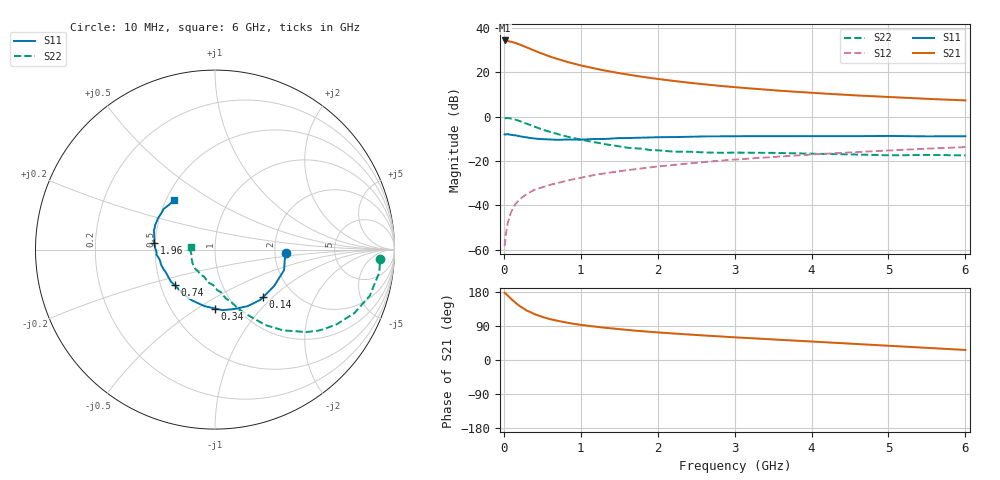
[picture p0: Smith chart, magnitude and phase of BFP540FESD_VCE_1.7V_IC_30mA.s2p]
! Infineon Technologies  Discrete & RF Semiconductors
! BFP540FESD
! VCE =  1.7 V,  IC =  30 mA
! Common Emitter S-Parameters:  Nov 2015
# GHz  S  MA  R  50
!  f  S11  S21  S12  S22
! GHz  MAG  ANG  MAG  ANG  MAG  ANG  MAG  ANG
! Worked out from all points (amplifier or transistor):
!   210 points, 10 MHz to 6 GHz, reference 50 ohm
!   highest |S21| = 34.3 dB at 10 MHz (marker M1)
!   |S21| within 3 dB of that: start of sweep to 288.2 MHz
!   unconditionally stable (mu >= 1): 1.51 GHz to end of sweep
!   at 185 MHz: K = 0.37, MSG = 35.4 dB, |S12| = -38.1 dB
!   at 1.52 GHz: K = 1.00, MAG = 21.7 dB, |S12| = -24.5 dB
!   at 6 GHz: K = 1.16, MAG = 8.1 dB, |S12| = -13.8 dB
!   S11 on the Smith chart (normalised r, x): 10 MHz: 2.31, -0.10; 140 MHz: 1.42, -0.87; 340 MHz: 0.81, -0.59; 740 MHz: 0.59, -0.26; 1.96 GHz: 0.49, +0.04; 6 GHz: 0.55, +0.35
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0.01  0.3977 -2.7  51.7 177.5  0.0012 106.5  0.9187 -3.3
0.02  0.3925 -8.4  49.81 176.1  0.0017 85.5  0.9214 -2.3
0.05  0.4016 -16.4  50.18 170.1  0.0039 86.0  0.9243 -7.9
0.1  0.3871 -31.7  48.19 160.2  0.0074 82.1  0.8995 -16.7
0.14  0.377 -44.5  46.16 153.2  0.01 76.9  0.8618 -22.8
0.15  0.3775 -47.8  45.77 151.3  0.0106 76.0  0.854 -24.4
0.2  0.3639 -59.9  42.34 143.2  0.0133 73.5  0.7976 -31.3
0.24  0.3505 -69.3  39.63 137.8  0.0152 72.5  0.7526 -36.0
0.3  0.3396 -83.2  35.9 130.3  0.0179 69.1  0.6865 -42.0
0.34  0.3283 -89.9  33.55 126.9  0.0197 68.5  0.6464 -44.8
0.4  0.3204 -100.6  30.3 120.8  0.0224 67.7  0.5897 -49.8
0.5  0.3106 -114.9  25.92 113.4  0.0253 66.4  0.5096 -55.9
0.6  0.305 -126.0  22.35 107.8  0.0289 66.2  0.4482 -60.1
0.74  0.2997 -138.8  18.78 101.7  0.0331 65.2  0.3852 -65.3
1.02  0.3031 -156.5  13.92 92.2  0.0423 64.7  0.2973 -74.1
1.44  0.3217 -173.1  9.901 82.4  0.0568 64.2  0.2217 -87.7
1.96  0.3407 173.4  7.176 73.4  0.0736 62.2  0.1742 -105.2
2.02  0.3428 171.8  6.95 72.5  0.0755 61.9  0.1724 -107.3
3.1  0.3605 156.8  4.436 58.8  0.11 55.6  0.1533 -134.6
4.1  0.3617 149.0  3.338 47.7  0.1425 49.3  0.1445 -150.9
5.1  0.363 140.6  2.699 36.5  0.1755 41.2  0.134 -167.3
6  0.3594 129.8  2.309 26.5  0.2048 33.6  0.1336 173.4
